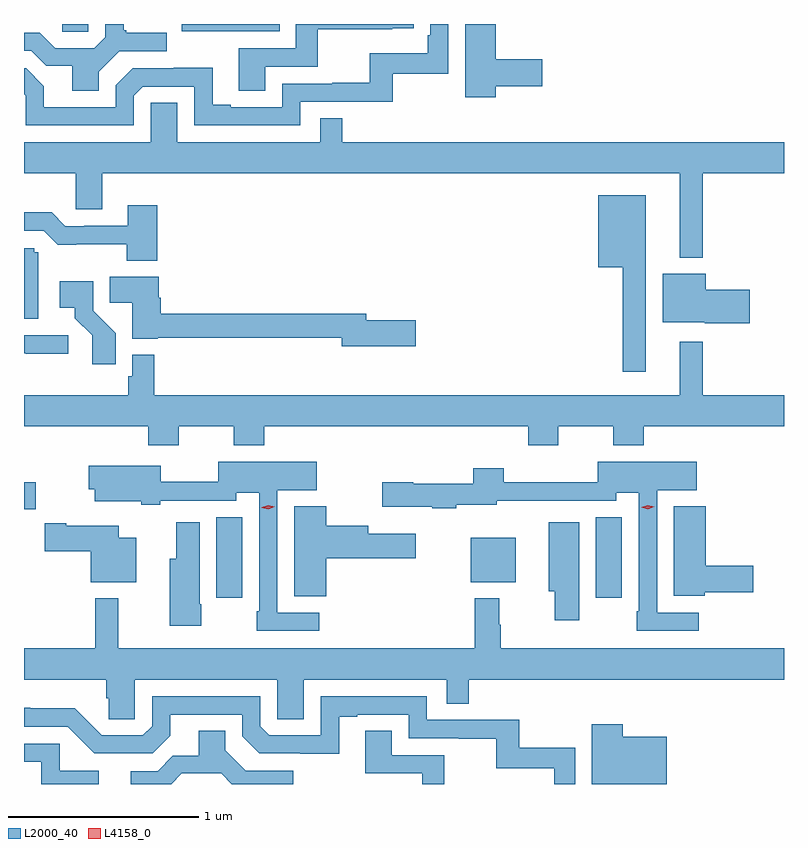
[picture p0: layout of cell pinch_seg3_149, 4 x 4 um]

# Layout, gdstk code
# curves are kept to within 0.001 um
import gdstk
lib = gdstk.Library(unit=1e-6, precision=1e-09)
def R(c, l, rs):  # rectangles x0, y0, x1, y1
    for r in rs: c.add(gdstk.rectangle(r[:2], r[2:], *l))
def P(c, l, *ps):  # polygons
    for p in ps: c.add(gdstk.Polygon(p, *l))
L2000_40 = (2000, 40)
L4158_0 = (4158, 0)

pinch_seg3_149 = lib.new_cell('pinch_seg3_149')
R(pinch_seg3_149, L2000_40, [(1105.742,722.658,1105.879,723.083), (1107.74,722.658,1107.877,723.083), (1107.08,722.741,1107.319,722.974), (1104.73,723.125,1104.793,723.267), (1104.931,725.637,1105.068,725.678), (1105.56,725.64,1106.075,725.678)])
P(pinch_seg3_149, L2000_40, [(1105.999,725.454),(1106.276,725.454),(1106.276,725.65),(1106.669,725.65),(1106.669,725.655),(1106.782,725.655),(1106.782,725.678),(1106.16,725.678),(1106.16,725.55),(1105.859,725.55),(1105.859,725.326),(1105.999,725.326)],
  [(1107.214,725.35),(1107.457,725.35),(1107.457,725.492),(1107.214,725.492),(1107.214,725.678),(1107.053,725.678),(1107.053,725.292),(1107.214,725.292)],
  [(1105.308,725.301),(1105.356,725.349),(1105.626,725.349),(1105.626,725.145),(1106.184,725.145),(1106.184,725.268),(1106.671,725.268),(1106.671,725.415),(1106.964,725.415),(1106.964,725.678),(1106.868,725.678),(1106.868,725.62),(1106.855,725.62),(1106.855,725.524),(1106.55,725.524),(1106.55,725.369),(1106.353,725.369),(1106.353,725.364),(1106.088,725.364),(1106.088,725.241),(1105.819,725.241),(1105.819,725.254),(1105.723,725.254),(1105.723,725.447),(1105.518,725.447),(1105.518,725.445),(1105.302,725.445),(1105.212,725.355),(1105.212,725.241),(1104.835,725.241),(1104.835,725.351),(1104.741,725.445),(1104.73,725.445),(1104.73,725.309),(1104.738,725.301),(1104.738,725.145),(1105.308,725.145)],
  [(1105.123,725.428),(1105.23,725.535),(1105.48,725.535),(1105.48,725.632),(1105.267,725.632),(1105.267,725.644),(1105.255,725.644),(1105.255,725.678),(1105.158,725.678),(1105.158,725.607),(1105.101,725.55),(1104.895,725.55),(1104.814,725.631),(1104.73,725.631),(1104.73,725.538),(1104.768,725.538),(1104.848,725.458),(1104.983,725.458),(1104.983,725.326),(1105.123,725.326)],
  [(1108.303,724.892),(1108.73,724.892),(1108.73,725.056),(1106.405,725.056),(1106.405,725.183),(1106.289,725.183),(1106.289,725.056),(1105.537,725.056),(1105.537,725.264),(1105.398,725.264),(1105.398,725.056),(1104.73,725.056),(1104.73,724.892),(1105.002,724.892),(1105.002,724.702),(1105.141,724.702),(1105.141,724.892),(1108.181,724.892),(1108.181,724.448),(1108.303,724.448)],
  [(1108.003,724.777),(1107.752,724.777),(1107.752,724.397),(1107.882,724.397),(1107.882,723.849),(1108.003,723.849)],
  [(1105.43,724.723),(1105.277,724.723),(1105.277,724.617),(1105.048,724.617),(1105.048,724.614),(1104.948,724.614),(1104.875,724.687),(1104.73,724.687),(1104.73,724.59),(1104.834,724.59),(1104.907,724.517),(1105.27,724.518),(1105.27,724.433),(1105.43,724.433)],
  [(1104.805,724.476),(1104.783,724.476),(1104.783,724.497),(1104.73,724.497),(1104.73,724.128),(1104.805,724.128)],
  [(1108.549,724.28),(1108.318,724.28),(1108.318,724.363),(1108.091,724.363),(1108.091,724.109),(1108.314,724.109),(1108.314,724.102),(1108.549,724.102)],
  [(1106.791,724.118),(1106.53,724.118),(1106.53,724.154),(1105.451,724.154),(1105.451,724.238),(1105.438,724.238),(1105.438,724.348),(1105.18,724.348),(1105.18,724.21),(1105.301,724.21),(1105.301,724.022),(1105.434,724.022),(1105.434,724.026),(1106.402,724.026),(1106.402,723.983),(1106.791,723.983)],
  [(1105.214,724.05),(1105.095,724.169),(1105.095,724.324),(1104.918,724.324),(1104.918,724.184),(1104.998,724.184),(1104.998,724.129),(1105.089,724.039),(1105.089,723.888),(1105.214,723.888)],
  [(1104.964,724.041),(1104.73,724.041),(1104.73,723.945),(1104.739,723.945),(1104.739,723.943),(1104.964,723.943)],
  [(1105.415,723.937),(1105.299,723.937),(1105.299,723.825),(1105.279,723.825),(1105.279,723.724),(1104.73,723.724),(1104.73,723.56),(1105.385,723.56),(1105.385,723.461),(1105.545,723.461),(1105.545,723.56),(1105.834,723.56),(1105.834,723.461),(1105.994,723.461),(1105.994,723.56),(1107.383,723.56),(1107.383,723.461),(1107.543,723.461),(1107.543,723.56),(1107.832,723.56),(1107.832,723.461),(1107.992,723.461),(1107.992,723.56),(1108.73,723.56),(1108.73,723.724),(1108.303,723.724),(1108.303,724.006),(1108.181,724.006),(1108.181,723.724),(1105.415,723.724)],
  [(1108.282,722.58),(1108.062,722.58),(1108.062,723.224),(1108.27,723.224),(1108.27,723.373),(1107.75,723.373),(1107.75,723.266),(1107.254,723.266),(1107.254,723.34),(1107.094,723.34),(1107.094,723.259),(1106.778,723.259),(1106.778,723.267),(1106.616,723.267),(1106.616,723.137),(1106.878,723.137),(1106.878,723.13),(1107.005,723.13),(1107.005,723.149),(1107.219,723.149),(1107.219,723.168),(1107.846,723.168),(1107.846,723.212),(1107.966,723.212),(1107.966,722.587),(1107.954,722.587),(1107.954,722.484),(1108.282,722.484)],
  [(1106.284,722.58),(1106.064,722.58),(1106.064,723.224),(1106.272,723.224),(1106.272,723.373),(1105.752,723.373),(1105.752,723.269),(1105.45,723.269),(1105.45,723.352),(1105.07,723.352),(1105.07,723.23),(1105.103,723.23),(1105.103,723.167),(1105.346,723.167),(1105.346,723.148),(1105.446,723.148),(1105.446,723.168),(1105.848,723.168),(1105.848,723.212),(1105.968,723.212),(1105.968,722.587),(1105.956,722.587),(1105.956,722.484),(1106.284,722.484)],
  [(1106.32,722.866),(1106.791,722.866),(1106.791,722.995),(1106.542,722.995),(1106.542,723.037),(1106.32,723.037),(1106.32,723.139),(1106.153,723.139),(1106.153,722.665),(1106.32,722.665)],
  [(1108.314,722.686),(1108.567,722.686),(1108.567,722.828),(1108.318,722.828),(1108.318,723.139),(1108.151,723.139),(1108.151,722.669),(1108.314,722.669)],
  [(1107.652,723.055),(1107.491,723.055),(1107.491,722.693),(1107.523,722.693),(1107.523,722.541),(1107.652,722.541)],
  [(1105.662,722.623),(1105.654,722.623),(1105.654,723.055),(1105.532,723.055),(1105.532,722.863),(1105.496,722.863),(1105.496,722.511),(1105.662,722.511)],
  [(1105.321,722.974),(1105.228,722.974),(1105.228,723.037),(1104.952,723.037),(1104.952,723.05),(1104.84,723.05),(1104.84,722.903),(1105.082,722.903),(1105.082,722.741),(1105.321,722.741)],
  [(1105.314,722.228),(1106.064,722.228),(1106.064,722.02),(1106.203,722.02),(1106.203,722.228),(1106.955,722.228),(1106.955,722.101),(1107.071,722.101),(1107.071,722.228),(1108.73,722.228),(1108.73,722.392),(1107.239,722.392),(1107.239,722.516),(1107.232,722.516),(1107.232,722.656),(1107.103,722.656),(1107.103,722.392),(1105.226,722.392),(1105.226,722.656),(1105.105,722.656),(1105.105,722.392),(1104.73,722.392),(1104.73,722.228),(1105.163,722.228),(1105.163,722.13),(1105.177,722.13),(1105.177,722.02),(1105.314,722.02)],
  [(1107.63,721.87),(1107.337,721.87),(1107.337,722.016),(1106.85,722.016),(1106.85,722.139),(1106.292,722.139),(1106.292,721.935),(1106.022,721.935),(1105.974,721.983),(1105.974,722.139),(1105.404,722.139),(1105.404,721.983),(1105.356,721.935),(1105.14,721.935),(1104.998,722.077),(1104.762,722.077),(1104.762,722.08),(1104.73,722.08),(1104.73,721.98),(1104.96,721.98),(1105.101,721.839),(1105.407,721.839),(1105.501,721.933),(1105.501,722.043),(1105.878,722.043),(1105.878,721.929),(1105.968,721.839),(1106.184,721.838),(1106.389,721.838),(1106.389,722.031),(1106.485,722.031),(1106.485,722.043),(1106.754,722.043),(1106.754,721.92),(1107.019,721.92),(1107.019,721.915),(1107.216,721.915),(1107.216,721.76),(1107.521,721.76),(1107.521,721.678),(1107.63,721.678)],
  [(1108.114,721.927),(1107.88,721.927),(1107.88,721.993),(1107.719,721.993),(1107.719,721.678),(1108.114,721.678)],
  [(1106.942,721.83),(1106.665,721.83),(1106.665,721.958),(1106.525,721.958),(1106.525,721.734),(1106.826,721.734),(1106.826,721.678),(1106.942,721.678)],
  [(1105.561,721.734),(1105.767,721.734),(1105.823,721.678),(1106.146,721.678),(1106.146,721.749),(1105.896,721.749),(1105.789,721.856),(1105.789,721.958),(1105.649,721.958),(1105.649,721.826),(1105.514,721.826),(1105.434,721.746),(1105.293,721.746),(1105.293,721.678),(1105.505,721.678)],
  [(1105.123,721.749),(1104.918,721.749),(1104.918,721.89),(1104.73,721.89),(1104.73,721.794),(1104.822,721.794),(1104.822,721.678),(1105.123,721.678)])
P(pinch_seg3_149, L4158_0, [(1106.016,723.125),(1105.981,723.133),(1105.981,723.134),(1105.981,723.134),(1106.015,723.145),(1106.05,723.136),(1106.05,723.136),(1106.05,723.136)],
  [(1108.013,723.125),(1107.978,723.134),(1107.978,723.135),(1107.978,723.135),(1108.013,723.145),(1108.048,723.136),(1108.048,723.136),(1108.048,723.136)])

lib.write_gds('pinch_seg3_149.gds')
